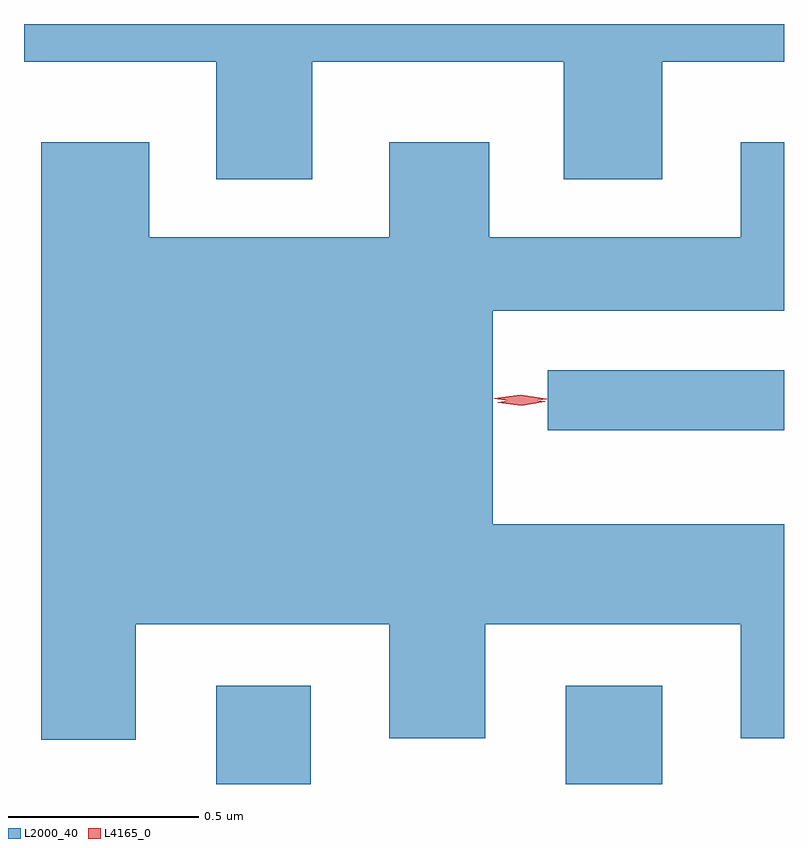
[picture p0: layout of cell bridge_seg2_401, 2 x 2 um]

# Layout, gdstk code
import gdstk
lib = gdstk.Library(unit=1e-6, precision=1e-09)
def R(c, l, rs):  # rectangles x0, y0, x1, y1
    for r in rs: c.add(gdstk.rectangle(r[:2], r[2:], *l))
def P(c, l, *ps):  # polygons
    for p in ps: c.add(gdstk.Polygon(p, *l))
L2000_40 = (2000, 40)
L4165_0 = (4165, 0)

bridge_seg2_401 = lib.new_cell('bridge_seg2_401')
R(bridge_seg2_401, L2000_40, [(645.961,1035.315,646.209,1035.574), (646.881,1035.315,647.134,1035.574), (646.833,1036.246,647.455,1036.404)])
P(bridge_seg2_401, L2000_40, [(646.214,1037.216),(646.876,1037.216),(646.876,1036.906),(647.134,1036.906),(647.134,1037.216),(647.455,1037.216),(647.455,1037.315),(645.455,1037.315),(645.455,1037.216),(645.961,1037.216),(645.961,1036.906),(646.214,1036.906)],
  [(645.749,1035.736),(646.416,1035.736),(646.416,1035.436),(646.669,1035.436),(646.669,1035.736),(647.341,1035.736),(647.341,1035.436),(647.455,1035.436),(647.455,1035.999),(646.689,1035.999),(646.689,1036.561),(647.455,1036.561),(647.455,1037.004),(647.341,1037.004),(647.341,1036.754),(646.679,1036.754),(646.679,1037.004),(646.416,1037.004),(646.416,1036.754),(645.784,1036.754),(645.784,1037.004),(645.501,1037.004),(645.501,1035.431),(645.749,1035.431)])
P(bridge_seg2_401, L4165_0, [(646.761,1036.319),(646.693,1036.329),(646.692,1036.329),(646.693,1036.33),(646.762,1036.339),(646.83,1036.329),(646.83,1036.329),(646.83,1036.328)],
  [(646.765,1036.31),(646.703,1036.318),(646.702,1036.319),(646.703,1036.32),(646.764,1036.33),(646.826,1036.322),(646.827,1036.321),(646.826,1036.321)])

lib.write_gds('bridge_seg2_401.gds')
